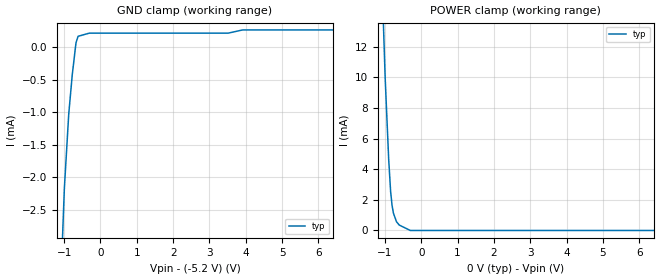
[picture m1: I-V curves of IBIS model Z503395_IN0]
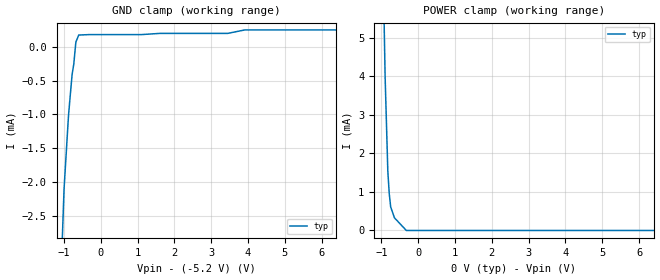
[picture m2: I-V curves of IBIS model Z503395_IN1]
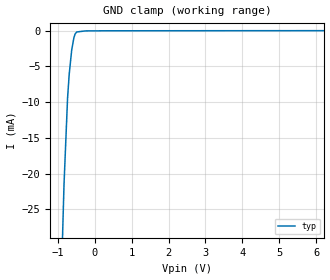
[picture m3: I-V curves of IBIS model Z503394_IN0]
| YOU ARE ONLY AUTHORIZED TO USE THIS SOFTWARE
| ACCORDING TO LICENSOR'S LICENSE RESTRICTIONS.
[IBIS Ver] 3.1
[File Name] mc100h601fn.ibs
[File Rev] 1
[Source] Derived from mc100h643fn.ibs and mc100h642fn_pecl.ibs
|   Measured and created by ICX Technology
[Date] 2/11/2004
[Copyright]
| (C) COPYRIGHT 1993-2000
| MENTOR GRAPHICS CORPORATION
| ICX STANDARD LIBRARY, ICX PROJECT MODELING,
| ICX CUSTOM MODELING, ICX VENDOR MODEL
| ALL RIGHTS RESERVED.
| THE FOLLOWING ARE TRADEMARKS OR SERVICE MARKS OF
| MENTOR GRAPHICS CORPORATION:ICX (R), ICX STANDARD
| LIBRARY(R), ICX PROJECT MODELING(R), ICX CUSTOM
| MODELING(R), qualityIBIS(TM), MODELVIEWER(TM),
| AND MODELEDITOR(TM)
| ALL COPIES OF SOFTWARE, INCLUDING BUT NOT LIMITED TO
| ANY MODIFICATIONS, ENHANCEMENTS OR DERIVATIVE WORKS,
| MUST CONTAIN ALL MENTOR GRAPHICS CORPORATION'S
| NOTICES AND LEGENDS, INCLUDING THOSE EMBEDDED IN
| SOFTWARE AND THOSE AFFIXED TO SOFTWARE MEDIUM
| AND CONTAINER, AS RECEIVED FROM MENTOR GRAPHICS
| CORPORATION.
|  ZAP Model Builder 2.7
[Component] MC100H601FN
[Manufacturer] OnSemiconductor
[Package]
| variable   typ   min   max
R_pkg  .083ohms NA NA
L_pkg  4.299nH NA NA
C_pkg  1.045pF NA NA
[Pin] signal_name  model_name  R_pin  L_pin C_pin
1 Q2 Z503394_OUT0 .08 3.94n .925p
2 GND GND .084 4.354n 1.065p
3 Q1 Z503394_OUT0 .08 3.94n .925p
4 Q0 Z503394_OUT0 .08 3.94n .925p
5 _OETTL Z503394_IN0 .086 4.583n 1.135p
6 NC NC .086 4.583n 1.135p
7 _OEECL Z503395_IN0 .084 4.354n 1.065p
8 VEE POWER .08 3.94n .925p
9 D0 Z503395_IN1 .086 4.583n 1.135p
10 D1 Z503395_IN1 .086 4.583n 1.135p
11 D2 Z503395_IN1 .086 4.583n 1.135p
12 D3 Z503395_IN1 .086 4.583n 1.135p
13 D4 Z503395_IN1 .086 4.583n 1.135p
14 D5 Z503395_IN1 .086 4.583n 1.135p
15 D6 Z503395_IN1 .086 4.583n 1.135p
16 VCCE GND .08 3.94n .925p
17 D7 Z503395_IN1 .086 4.583n 1.135p
18 D8 Z503395_IN1 .086 4.583n 1.135p
19 Q8 Z503394_OUT0 .08 3.94n .925p
20 Q7 Z503394_OUT0 .08 3.94n .925p
21 GND GND .084 4.354n 1.065p
22 Q6 Z503394_OUT0 .08 3.94n .925p
23 VCCT POWER .086 4.583n 1.135p
24 GND GND .084 4.354n 1.065p
25 Q5 Z503394_OUT0 .08 3.94n .925p
26 Q4 Z503394_OUT0 .08 3.94n .925p
27 Q3 Z503394_OUT0 .08 3.94n .925p
28 VCCT POWER .086 4.583n 1.135p
| Models and submodels in the file (4): Z503395_IN0 (Input_ECL), Z503395_IN1 (Input_ECL), Z503394_IN0 (Input), Z503394_OUT0 (Output)
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| (C) COPYRIGHT 1993-2000
| MENTOR GRAPHICS CORPORATION
| ICX STANDARD LIBRARY, ICX PROJECT MODELING,
| ICX CUSTOM MODELING, ICX VENDOR MODEL
| ALL RIGHTS RESERVED.
| THE FOLLOWING ARE TRADEMARKS OR SERVICE MARKS OF
| MENTOR GRAPHICS CORPORATION:ICX (R), ICX STANDARD
| LIBRARY(R), ICX PROJECT MODELING(R), ICX CUSTOM
| MODELING(R), qualityIBIS(TM), MODELVIEWER(TM),
| AND MODELEDITOR(TM)
| ALL COPIES OF SOFTWARE, INCLUDING BUT NOT LIMITED TO
| ANY MODIFICATIONS, ENHANCEMENTS OR DERIVATIVE WORKS,
| MUST CONTAIN ALL MENTOR GRAPHICS CORPORATION'S
| NOTICES AND LEGENDS, INCLUDING THOSE EMBEDDED IN
| SOFTWARE AND THOSE AFFIXED TO SOFTWARE MEDIUM
| AND CONTAINER, AS RECEIVED FROM MENTOR GRAPHICS
| CORPORATION.
| Model Application Version 1.89 2/18/99.
[Model] Z503395_IN0
Model_type Input_ECL
Vinl = -1.475V
Vinh = -1.165V
C_comp 2.000pF NA NA
| variable typ   min   max
[Voltage Range] -5.200V NA NA
[GND Clamp Reference] -5.200V NA NA
[POWER Clamp Reference] 0.000V NA NA
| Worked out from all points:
|   GND clamp passes 1 mA (typ) near -0.87 V on its own axis
|   POWER clamp passes 1 mA (typ) near -0.75 V on its own axis
[GND Clamp]
-5.2V     -176.8mA   NA         NA
-1.128V   -4.164mA   NA         NA
-995mV    -2.177mA   NA         NA
-874mV    -1.029mA   NA         NA
-777mV    -424.7uA   NA         NA
-674mV    67.93uA    NA         NA
-616mV    166.1uA    NA         NA
-308mV    214.5uA    NA         NA
3.518V    214.5uA    NA         NA
3.913V    263.7uA    NA         NA
10.4V     263.7uA    NA         NA
[POWER Clamp]
-5.2V     731.2mA    NA         NA
-1.104V   17.99mA    NA         NA
-996.1mV  10.04mA    NA         NA
-898.6mV  4.673mA    NA         NA
-844mV    2.522mA    NA         NA
-805.4mV  1.643mA    NA         NA
-766.6mV  1.125mA    NA         NA
-683.7mV  574.3uA    NA         NA
-607.2mV  354.8uA    NA         NA
-303.6mV  0A         NA         NA
10.4V     0A         NA         NA
| (C) COPYRIGHT 1993-2000
| MENTOR GRAPHICS CORPORATION
| ICX STANDARD LIBRARY, ICX PROJECT MODELING,
| ICX CUSTOM MODELING, ICX VENDOR MODEL
| ALL RIGHTS RESERVED.
| THE FOLLOWING ARE TRADEMARKS OR SERVICE MARKS OF
| MENTOR GRAPHICS CORPORATION:ICX (R), ICX STANDARD
| LIBRARY(R), ICX PROJECT MODELING(R), ICX CUSTOM
| MODELING(R), qualityIBIS(TM), MODELVIEWER(TM),
| AND MODELEDITOR(TM)
| ALL COPIES OF SOFTWARE, INCLUDING BUT NOT LIMITED TO
| ANY MODIFICATIONS, ENHANCEMENTS OR DERIVATIVE WORKS,
| MUST CONTAIN ALL MENTOR GRAPHICS CORPORATION'S
| NOTICES AND LEGENDS, INCLUDING THOSE EMBEDDED IN
| SOFTWARE AND THOSE AFFIXED TO SOFTWARE MEDIUM
| AND CONTAINER, AS RECEIVED FROM MENTOR GRAPHICS
| CORPORATION.
| Model Application Version 1.89 2/18/99.
[Model] Z503395_IN1
Model_type Input_ECL
Vinl = -1.475V
Vinh = -1.165V
C_comp 2.000pF NA NA
| variable typ   min   max
[Voltage Range] -5.200V NA NA
[GND Clamp Reference] -5.200V NA NA
[POWER Clamp Reference] 0.000V NA NA
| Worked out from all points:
|   GND clamp passes 1 mA (typ) near -0.87 V on its own axis
|   POWER clamp passes 1 mA (typ) near -0.79 V on its own axis
[GND Clamp]
-5.2V     -173.3mA   NA         NA
-1.148V   -4.474mA   NA         NA
-995mV    -2.101mA   NA         NA
-874mV    -1.01mA    NA         NA
-777mV    -406.8uA   NA         NA
-733mV    -258.8uA   NA         NA
-674mV    76.51uA    NA         NA
-596mV    179.8uA    NA         NA
1.62V     204.4uA    NA         NA
3.454V    204.4uA    NA         NA
3.913V    255.3uA    NA         NA
10.4V     255.3uA    NA         NA
[POWER Clamp]
-5.2V     635.7mA    NA         NA
-1.016V   10.13mA    NA         NA
-898.7mV  3.985mA    NA         NA
-825.2mV  1.538mA    NA         NA
-786mV    947.7uA    NA         NA
-747.1mV  609.3uA    NA         NA
-644.6mV  327.4uA    NA         NA
-322.3mV  0A         NA         NA
10.4V     0A         NA         NA
| (C) COPYRIGHT 1993-2000
| MENTOR GRAPHICS CORPORATION
| ICX STANDARD LIBRARY, ICX PROJECT MODELING,
| ICX CUSTOM MODELING, ICX VENDOR MODEL
| ALL RIGHTS RESERVED.
| THE FOLLOWING ARE TRADEMARKS OR SERVICE MARKS OF
| MENTOR GRAPHICS CORPORATION:ICX (R), ICX STANDARD
| LIBRARY(R), ICX PROJECT MODELING(R), ICX CUSTOM
| MODELING(R), qualityIBIS(TM), MODELVIEWER(TM),
| AND MODELEDITOR(TM)
| ALL COPIES OF SOFTWARE, INCLUDING BUT NOT LIMITED TO
| ANY MODIFICATIONS, ENHANCEMENTS OR DERIVATIVE WORKS,
| MUST CONTAIN ALL MENTOR GRAPHICS CORPORATION'S
| NOTICES AND LEGENDS, INCLUDING THOSE EMBEDDED IN
| SOFTWARE AND THOSE AFFIXED TO SOFTWARE MEDIUM
| AND CONTAINER, AS RECEIVED FROM MENTOR GRAPHICS
| CORPORATION.
| Model Application Version 1.89 2/18/99.
[Model] Z503394_IN0
Model_type Input
Vinl = 3.525V
Vinh = 3.835V
C_comp 2.000pF NA NA
| variable typ   min   max
[Voltage Range] 5.000V NA NA
[GND Clamp Reference] 0.000V NA NA
[POWER Clamp Reference] 5.000V NA NA
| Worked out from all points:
|   GND clamp passes 1 mA (typ) near -0.56 V on its own axis
[GND Clamp]
-5V       -786.2mA   NA         NA
-828.2mV  -21.51mA   NA         NA
-732.3mV  -9.445mA   NA         NA
-688mV    -6.09mA    NA         NA
-620mV    -2.682mA   NA         NA
-560.3mV  -957.6uA   NA         NA
-527.2mV  -441.5uA   NA         NA
-483.7mV  -167.8uA   NA         NA
-241.9mV  -19.1uA    NA         NA
307.7mV   -2.6uA     NA         NA
10V       26.7uA     NA         NA
[POWER Clamp]
-5V       0A         NA         NA
10V       0A         NA         NA
